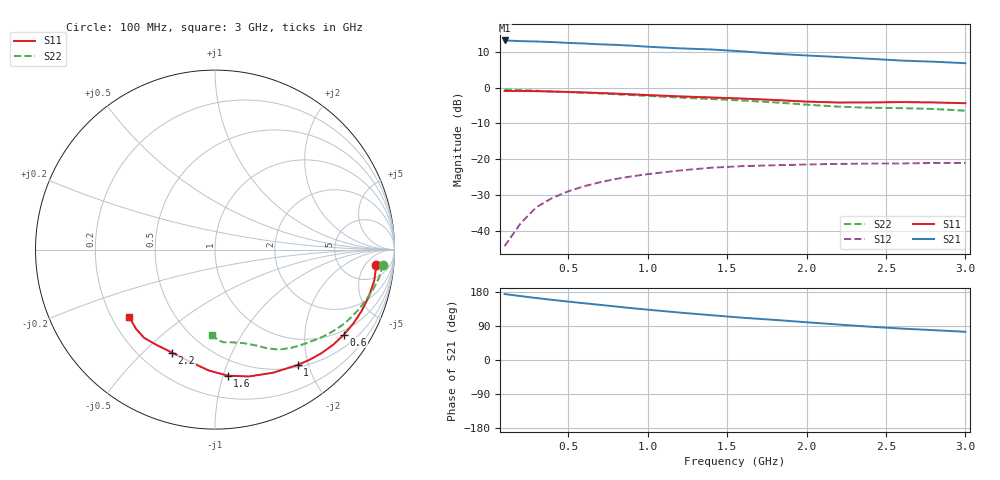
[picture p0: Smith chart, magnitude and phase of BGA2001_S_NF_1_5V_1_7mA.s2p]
! Title: BGA2001
! Bias: Vce=1.5V; Ic=1.7mA controlled / noise data included
! Company: Philips Semiconductors NL
! User: Quality&Reliability T&D
! Measure time: 23 Oct 1998 / 08:33:22
#  MHz  S  MA  R 50
! Freq  S11  S21  S12  S22  :
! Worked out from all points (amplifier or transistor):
!   20 points, 100 MHz to 3 GHz, reference 50 ohm
!   highest |S21| = 13.3 dB at 100 MHz (marker M1)
!   |S21| within 3 dB of that: start of sweep to 1.576 GHz
!   unconditionally stable (mu >= 1): 2.905 GHz to end of sweep
!   at 400 MHz: K = 0.17, MSG = 21.8 dB, |S12| = -30.9 dB
!   at 1.2 GHz: K = 0.36, MSG = 17.1 dB, |S12| = -23.2 dB
!   at 3 GHz: K = 1.07, MAG = 12.4 dB, |S12| = -21.1 dB
!   lowest NFmin = 1.10 dB at 1.8 GHz
!   S11 on the Smith chart (normalised r, x): 100 MHz: 11, -10; 600 MHz: 0.85, -3.12; 1 GHz: 0.53, -1.83; 1.6 GHz: 0.37, -1.04; 2.2 GHz: 0.33, -0.62; 3 GHz: 0.27, -0.33
100  0.9031 -5.4  4.599 174.1  0.006056 57.4  0.9399 -5.1
200  0.9041 -11.1  4.5 168.7  0.0126 82.9  0.9267 -9.9
300  0.8965 -16.9  4.447 163.5  0.02126 80.0  0.9077 -14.4
400  0.8859 -22.6  4.367 158.7  0.02866 75.9  0.8868 -18.4
500  0.8742 -28.0  4.249 154.2  0.03546 72.2  0.8694 -22.2
600  0.8606 -33.4  4.171 149.8  0.04179 68.8  0.8503 -25.9
700  0.8459 -38.6  4.058 145.5  0.04753 65.6  0.8329 -29.3
800  0.8282 -44.0  3.99 141.2  0.05293 62.5  0.8119 -32.7
900  0.8095 -49.2  3.887 136.7  0.05756 59.5  0.7912 -36.0
1000  0.791 -54.3  3.76 132.8  0.06175 56.9  0.7702 -39.3
1200  0.7583 -64.8  3.57 125.2  0.06944 51.9  0.7292 -45.7
1400  0.7315 -75.1  3.439 118.2  0.07599 47.4  0.695 -51.9
1600  0.7059 -84.2  3.232 111.5  0.08 44.0  0.6626 -57.2
1800  0.6747 -92.9  2.998 105.8  0.08219 41.8  0.6249 -61.8
2000  0.6408 -102.3  2.835 99.6  0.08428 38.8  0.5807 -66.9
2200  0.6218 -112.6  2.694 93.6  0.08586 35.8  0.5443 -73.1
2400  0.6233 -121.7  2.547 87.8  0.08677 34.1  0.525 -79.7
2600  0.6305 -128.8  2.402 82.9  0.08721 34.1  0.5183 -84.7
2800  0.6234 -135.0  2.318 78.7  0.08857 33.2  0.5047 -88.1
3000  0.608 -141.6  2.21 74.5  0.0886 33.3  0.4776 -91.8
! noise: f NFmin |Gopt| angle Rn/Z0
900  1.15  0.51  20.7  0.4
1000  1.22  0.5  21.6  0.39
1800  1.096  0.449  67.3  0.326
2000  1.197  0.425  76.26  0.289
2200  1.453  0.366  86.76  0.257
2400  1.622  0.356  99.07  0.244
